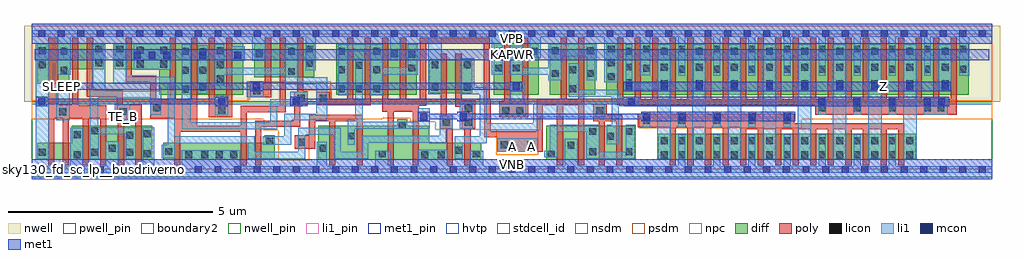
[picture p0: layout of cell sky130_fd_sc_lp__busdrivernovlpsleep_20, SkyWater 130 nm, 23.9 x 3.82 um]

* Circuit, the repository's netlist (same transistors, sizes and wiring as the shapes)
* Copyright 2020 The SkyWater PDK Authors
*
* Licensed under the Apache License, Version 2.0 (the "License");
* you may not use this file except in compliance with the License.
* You may obtain a copy of the License at
*
*     https://www.apache.org/licenses/LICENSE-2.0
*
* Unless required by applicable law or agreed to in writing, software
* distributed under the License is distributed on an "AS IS" BASIS,
* WITHOUT WARRANTIES OR CONDITIONS OF ANY KIND, either express or implied.
* See the License for the specific language governing permissions and
* limitations under the License.
*
* SPDX-License-Identifier: Apache-2.0

.SUBCKT sky130_fd_sc_lp__busdrivernovlpsleep_20 A SLEEP TE_B KAPWR VGND VNB VPB VPWR Z
*.PININFO A:I SLEEP:I TE_B:I KAPWR:I VGND:I VNB:I VPB:I VPWR:I Z:O
MI33 TE TE_B VGND VNB sky130_fd_pr__nfet_01v8 m=2 w=0.84U l=0.15U mult=1 sa=0.265
+ sb=0.265 sd=0.28 area=0.063 perim=1.14
MI31 TE SLEEP VGND VNB sky130_fd_pr__nfet_01v8 m=2 w=0.84U l=0.15U mult=1 sa=0.265
+ sb=0.265 sd=0.28 area=0.063 perim=1.14
MI28 SLEEPB SLEEP net108 VNB sky130_fd_pr__nfet_01v8 m=1 w=0.42U l=0.15U mult=1
+ sa=0.265 sb=0.265 sd=0.28 area=0.063 perim=1.14
MMN1 Z net145 VGND VNB sky130_fd_pr__nfet_01v8 m=14 w=0.64U l=0.15U mult=1 sa=0.265
+ sb=0.265 sd=0.28 area=0.063 perim=1.14
MI26 net145 TEB_INT VGND VNB sky130_fd_pr__nfet_01v8 m=2 w=0.84U l=0.15U mult=1
+ sa=0.265 sb=0.265 sd=0.28 area=0.063 perim=1.14
MI25 net145 A VGND VNB sky130_fd_pr__nfet_01v8 m=2 w=0.84U l=0.15U mult=1 sa=0.265
+ sb=0.265 sd=0.28 area=0.063 perim=1.14
MI24 net93 A VGND VNB sky130_fd_pr__nfet_01v8 m=2 w=0.84U l=0.15U mult=1 sa=0.265
+ sb=0.265 sd=0.28 area=0.063 perim=1.14
MI23 net89 net90 net93 VNB sky130_fd_pr__nfet_01v8 m=2 w=0.84U l=0.15U mult=1 sa=0.265
+ sb=0.265 sd=0.28 area=0.063 perim=1.14
MI22 net90 TEB_INT VGND VNB sky130_fd_pr__nfet_01v8 m=1 w=0.42U l=0.15U mult=1
+ sa=0.265 sb=0.265 sd=0.28 area=0.063 perim=1.14
MI21 net90 net145 VGND VNB sky130_fd_pr__nfet_01v8 m=1 w=0.42U l=0.15U mult=1 sa=0.265
+ sb=0.265 sd=0.28 area=0.063 perim=1.14
MI13 net146 net89 net73 VNB sky130_fd_pr__nfet_01v8 m=1 w=0.42U l=0.15U mult=1
+ sa=0.265 sb=0.265 sd=0.28 area=0.063 perim=1.14
MI14 net73 TE VGND VNB sky130_fd_pr__nfet_01v8 m=1 w=0.42U l=0.15U mult=1 sa=0.265
+ sb=0.265 sd=0.28 area=0.063 perim=1.14
MI37 TEB_INT TE VGND VNB sky130_fd_pr__nfet_01v8 m=1 w=0.42U l=0.15U mult=1 sa=0.265
+ sb=0.265 sd=0.28 area=0.063 perim=1.14
MI29 net108 SLEEP VGND VNB sky130_fd_pr__nfet_01v8 m=1 w=0.42U l=0.15U mult=1 sa=0.265
+ sb=0.265 sd=0.28 area=0.063 perim=1.14
MI36 TEB_INT TE KAPWR VPB sky130_fd_pr__pfet_01v8_hvt m=1 w=0.64U l=0.15U mult=1
+ sa=0.265 sb=0.265 sd=0.28 area=0.063 perim=1.14
MI32 TE TE_B net116 VPB sky130_fd_pr__pfet_01v8_hvt m=1 w=0.64U l=0.15U mult=1
+ sa=0.265 sb=0.265 sd=0.28 area=0.063 perim=1.14
MI30 net116 SLEEP VPWR VPB sky130_fd_pr__pfet_01v8_hvt m=1 w=0.64U l=0.15U mult=1
+ sa=0.265 sb=0.265 sd=0.28 area=0.063 perim=1.14
MMP0 Z net89 VPWR VPB sky130_fd_pr__pfet_01v8_hvt m=20 w=1.26U l=0.15U mult=1 sa=0.265
+ sb=0.265 sd=0.28 area=0.063 perim=1.14
MI27 SLEEPB SLEEP VPWR VPB sky130_fd_pr__pfet_01v8_hvt m=1 w=1.0U l=0.25U mult=1
+ sa=0.265 sb=0.265 sd=0.28 area=0.063 perim=1.14
MI11 net146 net89 VPWR VPB sky130_fd_pr__pfet_01v8_hvt m=1 w=0.84U l=0.15U mult=1
+ sa=0.265 sb=0.265 sd=0.28 area=0.063 perim=1.14
MI20 net90 net145 net153 VPB sky130_fd_pr__pfet_01v8_hvt m=1 w=0.84U l=0.15U mult=1
+ sa=0.265 sb=0.265 sd=0.28 area=0.063 perim=1.14
MI39 net148 SLEEP VPWR VPB sky130_fd_pr__pfet_01v8_hvt m=2 w=1.26U l=0.15U mult=1
+ sa=0.265 sb=0.265 sd=0.28 area=0.063 perim=1.14
MI19 net153 TEB_INT VPWR VPB sky130_fd_pr__pfet_01v8_hvt m=1 w=0.84U l=0.15U mult=1
+ sa=0.265 sb=0.265 sd=0.28 area=0.063 perim=1.14
MI10 net89 A net148 VPB sky130_fd_pr__pfet_01v8_hvt m=2 w=1.26U l=0.15U mult=1
+ sa=0.265 sb=0.265 sd=0.28 area=0.063 perim=1.14
MI18 net145 net146 net144 VPB sky130_fd_pr__pfet_01v8_hvt m=2 w=1.26U l=0.15U mult=1
+ sa=0.265 sb=0.265 sd=0.28 area=0.063 perim=1.14
MI17 net144 A VPWR VPB sky130_fd_pr__pfet_01v8_hvt m=2 w=1.26U l=0.15U mult=1 sa=0.265
+ sb=0.265 sd=0.28 area=0.063 perim=1.14
MI12 net146 TE net136 VPB sky130_fd_pr__pfet_01v8_hvt m=1 w=0.84U l=0.15U mult=1
+ sa=0.265 sb=0.265 sd=0.28 area=0.063 perim=1.14
MI9 net89 TE KAPWR VPB sky130_fd_pr__pfet_01v8_hvt m=2 w=1.26U l=0.15U mult=1 sa=0.265
+ sb=0.265 sd=0.28 area=0.063 perim=1.14
MI38 net146 SLEEPB KAPWR VPB sky130_fd_pr__pfet_01v8_hvt m=2 w=1.26U l=0.15U mult=1
+ sa=0.265 sb=0.265 sd=0.28 area=0.063 perim=1.14
MI40 net136 SLEEP VPWR VPB sky130_fd_pr__pfet_01v8_hvt m=1 w=0.84U l=0.15U mult=1
+ sa=0.265 sb=0.265 sd=0.28 area=0.063 perim=1.14
.ENDS sky130_fd_sc_lp__busdrivernovlpsleep_20

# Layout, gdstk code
import gdstk
lib = gdstk.Library(unit=1e-6, precision=1e-09)
def R(c, l, rs):  # rectangles x0, y0, x1, y1
    for r in rs: c.add(gdstk.rectangle(r[:2], r[2:], *l))
def A(c, l, x, y, w, h, nx, ny, dx, dy):  # array of equal rectangles
    R(c, l, [(x+i*dx, y+j*dy, x+i*dx+w, y+j*dy+h) for i in range(nx) for j in range(ny)])
def P(c, l, *ps):  # polygons
    for p in ps: c.add(gdstk.Polygon(p, *l))
nwell_pin = (64, 16)
nwell = (64, 20)
diff = (65, 20)
poly = (66, 20)
licon = (66, 44)
li1_pin = (67, 16)
li1 = (67, 20)
mcon = (67, 44)
met1_pin = (68, 16)
met1 = (68, 20)
hvtp = (78, 44)
stdcell_id = (81, 4)
nsdm = (93, 44)
psdm = (94, 20)
npc = (95, 20)
pwell_pin = (122, 16)
boundary2 = (236, 0)

sky130_fd_sc_lp__busdriv = lib.new_cell('sky130_fd_sc_lp__busdrivernovlpsleep_20')
R(sky130_fd_sc_lp__busdriv, nwell_pin, [(0,3.085,23.52,3.33)])
R(sky130_fd_sc_lp__busdriv, nwell, [(-0.19,1.655,23.71,3.52)])
R(sky130_fd_sc_lp__busdriv, diff, [(12.595,0.235,14.77,1.075), (15.34,0.235,21.65,0.875), (7.46,1.835,9.43,3.095), (11.31,1.835,12.42,3.095), (12.69,1.835,13.8,3.095), (14.07,1.835,22.94,3.095), (9.73,1.865,10.79,2.705), (5.445,2.255,6.915,3.095)])
P(sky130_fd_sc_lp__busdriv, diff, [(11.01,0.655),(9.73,0.655),(9.73,1.075),(9.2,1.075),(9.2,1.225),(8.945,1.225),(8.945,1.075),(7.015,1.075),(7.015,0.235),(11.01,0.235)],
  [(5.95,0.84),(5.7,0.84),(5.7,0.655),(3.225,0.655),(3.225,0.235),(5.95,0.235)],
  [(5.175,3.095),(2.035,3.095),(2.035,2.455),(3.125,2.455),(3.125,1.835),(5.175,1.835)],
  [(2.955,1.075),(0.985,1.075),(0.985,0.655),(0.135,0.655),(0.135,0.235),(2.955,0.235)],
  [(1.765,3.095),(0.135,3.095),(0.135,2.095),(0.915,2.095),(0.915,2.455),(1.765,2.455)])
P(sky130_fd_sc_lp__busdriv, poly, [(22.655,3.225),(22.505,3.225),(22.505,1.725),(22.225,1.725),(22.225,3.225),(22.075,3.225),(22.075,1.725),(21.795,1.725),(21.795,3.225),(21.645,3.225),(21.645,1.725),(21.365,1.725),(21.365,3.225),(21.215,3.225),(21.215,1.725),(20.935,1.725),(20.935,3.225),(20.785,3.225),(20.785,1.725),(20.505,1.725),(20.505,3.225),(20.355,3.225),(20.355,1.725),(20.075,1.725),(20.075,3.225),(19.925,3.225),(19.925,1.725),(19.645,1.725),(19.645,3.225),(19.495,3.225),(19.495,1.725),(19.215,1.725),(19.215,3.225),(19.065,3.225),(19.065,1.725),(18.785,1.725),(18.785,3.225),(18.635,3.225),(18.635,1.725),(18.355,1.725),(18.355,3.225),(18.205,3.225),(18.205,1.725),(17.925,1.725),(17.925,3.225),(17.775,3.225),(17.775,1.725),(17.495,1.725),(17.495,3.225),(17.345,3.225),(17.345,1.725),(17.065,1.725),(17.065,3.225),(16.915,3.225),(16.915,1.725),(16.635,1.725),(16.635,3.225),(16.485,3.225),(16.485,1.725),(16.205,1.725),(16.205,3.225),(16.055,3.225),(16.055,1.725),(15.775,1.725),(15.775,3.225),(15.625,3.225),(15.625,1.725),(15.345,1.725),(15.345,3.225),(15.195,3.225),(15.195,1.725),(14.915,1.725),(14.915,3.225),(14.765,3.225),(14.765,1.725),(14.485,1.725),(14.485,3.225),(14.335,3.225),(14.335,1.575),(19.18,1.575),(19.18,1.345),(22.655,1.345)],
  [(21.365,1.135),(18.67,1.135),(18.67,1.365),(14.845,1.365),(14.845,1.035),(15.625,1.035),(15.625,0.105),(15.775,0.105),(15.775,1.035),(16.055,1.035),(16.055,0.105),(16.205,0.105),(16.205,1.035),(16.485,1.035),(16.485,0.105),(16.635,0.105),(16.635,1.035),(16.915,1.035),(16.915,0.105),(17.065,0.105),(17.065,1.035),(17.345,1.035),(17.345,0.105),(17.495,0.105),(17.495,0.985),(17.775,0.985),(17.775,0.105),(17.925,0.105),(17.925,0.985),(18.205,0.985),(18.205,0.105),(18.355,0.105),(18.355,0.985),(18.635,0.985),(18.635,0.105),(18.785,0.105),(18.785,0.985),(19.065,0.985),(19.065,0.105),(19.215,0.105),(19.215,0.985),(19.495,0.985),(19.495,0.105),(19.645,0.105),(19.645,0.985),(19.925,0.985),(19.925,0.105),(20.075,0.105),(20.075,0.985),(20.355,0.985),(20.355,0.105),(20.505,0.105),(20.505,0.985),(20.785,0.985),(20.785,0.105),(20.935,0.105),(20.935,0.985),(21.215,0.985),(21.215,0.105),(21.365,0.105)],
  [(14.46,1.335),(14.075,1.335),(14.075,1.605),(13.745,1.605),(13.745,1.185),(13.88,1.185),(13.88,0.105),(14.03,0.105),(14.03,1.185),(14.31,1.185),(14.31,0.105),(14.46,0.105)],
  [(13.535,3.225),(13.385,3.225),(13.385,1.725),(13.105,1.725),(13.105,3.225),(12.955,3.225),(12.955,1.725),(12.365,1.725),(12.365,0.935),(11.235,0.935),(11.235,1.725),(11.215,1.725),(11.215,3.225),(9.505,3.225),(9.505,1.715),(9.165,1.715),(9.165,3.225),(9.015,3.225),(9.015,1.715),(8.735,1.715),(8.735,3.225),(8.585,3.225),(8.585,1.41),(8.72,1.41),(8.72,0.105),(8.87,0.105),(8.87,1.41),(9.33,1.41),(9.33,0.105),(9.48,0.105),(9.48,1.565),(9.655,1.565),(9.655,3.075),(11.065,3.075),(11.065,1.575),(11.085,1.575),(11.085,0.785),(11.4,0.785),(11.4,0.44),(12.515,0.44),(12.515,1.575),(12.86,1.575),(12.86,0.105),(13.01,0.105),(13.01,1.575),(13.385,1.575),(13.385,0.105),(13.535,0.105)],
  [(12.155,3.225),(12.005,3.225),(12.005,1.67),(11.725,1.67),(11.725,3.225),(11.575,3.225),(11.575,1.67),(11.445,1.67),(11.445,1.28),(12.155,1.28)],
  [(10.855,1.69),(10.525,1.69),(10.525,2.835),(10.375,2.835),(10.375,1.54),(10.525,1.54),(10.525,0.995),(10.595,0.995),(10.595,0.105),(10.745,0.105),(10.745,0.995),(10.855,0.995)],
  [(10.315,1.33),(10.165,1.33),(10.165,2.835),(10.015,2.835),(10.015,1.325),(9.985,1.325),(9.985,0.995),(10.165,0.995),(10.165,0.105),(10.315,0.105)],
  [(8.305,3.225),(8.155,3.225),(8.155,1.725),(7.875,1.725),(7.875,3.225),(7.725,3.225),(7.725,1.725),(7.3,1.725),(7.3,1.905),(6.97,1.905),(6.97,1.575),(8.305,1.575)],
  [(8.11,1.335),(6.79,1.335),(6.79,0.835),(6.445,0.835),(6.445,0.505),(6.94,0.505),(6.94,1.185),(7.28,1.185),(7.28,0.105),(7.43,0.105),(7.43,1.185),(7.96,1.185),(7.96,0.105),(8.11,0.105)],
  [(6.76,1.91),(6.65,1.91),(6.65,3.225),(6.5,3.225),(6.5,1.905),(6.43,1.905),(6.43,1.195),(5.475,1.195),(5.475,0.105),(5.625,0.105),(5.625,1.045),(6.58,1.045),(6.58,1.575),(6.76,1.575)],
  [(6.22,3.225),(6.07,3.225),(6.07,1.555),(5.115,1.555),(5.115,1.07),(4.05,1.07),(4.05,3.225),(3.9,3.225),(3.9,1.715),(3.525,1.715),(3.525,3.225),(3.375,3.225),(3.375,1.715),(3.05,1.715),(3.05,2.295),(2.45,2.295),(2.45,3.225),(2.3,3.225),(2.3,2.145),(2.9,2.145),(2.9,1.25),(3.49,1.25),(3.49,0.105),(3.64,0.105),(3.64,0.92),(5.115,0.92),(5.115,0.105),(5.265,0.105),(5.265,1.405),(6.22,1.405)],
  [(5.86,3.225),(5.71,3.225),(5.71,2.095),(5.345,2.095),(5.345,1.765),(5.86,1.765)],
  [(4.91,3.225),(4.76,3.225),(4.76,1.705),(4.48,1.705),(4.48,3.225),(4.33,3.225),(4.33,1.28),(4.905,1.28),(4.905,1.655),(4.91,1.655)],
  [(2.69,1.585),(2.23,1.585),(2.23,1.935),(1.5,1.935),(1.5,3.225),(1.35,3.225),(1.35,1.785),(2.08,1.785),(2.08,1.205),(2.11,1.205),(2.11,0.105),(2.26,0.105),(2.26,1.205),(2.54,1.205),(2.54,0.105),(2.69,0.105)],
  [(1.83,1.575),(1.14,1.575),(1.14,3.225),(0.99,3.225),(0.99,1.58),(0.65,1.58),(0.65,3.225),(0.4,3.225),(0.4,0.105),(0.55,0.105),(0.55,1.25),(0.76,1.25),(0.76,0.105),(0.91,0.105),(0.91,1.25),(1.25,1.25),(1.25,0.105),(1.4,0.105),(1.4,1.25),(1.68,1.25),(1.68,0.105),(1.83,0.105)])
A(sky130_fd_sc_lp__busdriv, licon, 15.4, 0.275, 0.17, 0.17, 15, 2, 0.43, 0.34)
A(sky130_fd_sc_lp__busdriv, licon, 19.26, 1.425, 0.17, 0.17, 4, 1, 0.86, 0)
A(sky130_fd_sc_lp__busdriv, licon, 7.5, 1.895, 0.17, 0.17, 3, 1, 0.43, 0)
A(sky130_fd_sc_lp__busdriv, licon, 15.4, 2.02, 0.17, 0.17, 9, 2, 0.86, 0.395)
A(sky130_fd_sc_lp__busdriv, licon, 4.535, 2.14, 0.17, 0.17, 1, 3, 0, 0.34)
A(sky130_fd_sc_lp__busdriv, licon, 15.83, 2.37, 0.17, 0.17, 9, 1, 0.86, 0)
A(sky130_fd_sc_lp__busdriv, licon, 11.35, 2.815, 0.17, 0.17, 3, 1, 0.43, 0)
A(sky130_fd_sc_lp__busdriv, licon, 14.54, 2.815, 0.17, 0.17, 10, 1, 0.86, 0)
A(sky130_fd_sc_lp__busdriv, licon, 14.11, 2.865, 0.17, 0.17, 11, 1, 0.86, 0)
R(sky130_fd_sc_lp__busdriv, licon, [(1.025,0.275,1.195,0.445), (3.755,0.275,3.925,0.445), (4.155,0.275,4.325,0.445), (4.51,0.275,4.68,0.445), (4.86,0.275,5.03,0.445), (9.535,0.275,9.705,0.445), (9.94,0.275,10.11,0.445), (8.495,0.295,8.665,0.465), (10.8,0.295,10.97,0.465), (12.635,0.295,12.805,0.465), (2.745,0.3,2.915,0.47), (0.175,0.335,0.345,0.505), (1.455,0.335,1.625,0.505), (2.315,0.335,2.485,0.505), (13.655,0.345,13.825,0.515), (14.54,0.345,14.71,0.515), (3.265,0.355,3.435,0.525), (10.37,0.385,10.54,0.555), (7.055,0.43,7.225,0.6), (1.885,0.44,2.055,0.61), (13.12,0.505,13.29,0.675), (11.48,0.52,11.65,0.69), (12.135,0.52,12.305,0.69), (6.525,0.585,6.695,0.755), (5.74,0.605,5.91,0.775), (14.085,0.73,14.255,0.9), (7.735,0.735,7.905,0.905), (2.315,0.75,2.485,0.92), (1.025,0.77,1.195,0.94), (2.745,0.79,2.915,0.96), (13.655,0.845,13.825,1.015), (14.54,0.845,14.71,1.015), (1.455,0.865,1.625,1.035), (8.99,0.995,9.16,1.165), (10.065,1.075,10.235,1.245), (10.605,1.075,10.775,1.245), (14.98,1.115,15.15,1.285), (15.84,1.115,16.01,1.285), (16.68,1.115,16.85,1.285), (17.56,1.115,17.73,1.285), (18.42,1.115,18.59,1.285), (0.675,1.33,0.845,1.5), (2.16,1.335,2.33,1.505), (13.825,1.355,13.995,1.525), (4.565,1.36,4.735,1.53), (11.525,1.36,11.695,1.53), (11.865,1.36,12.035,1.53), (10.605,1.415,10.775,1.585), (2.98,1.425,3.15,1.595), (22.18,1.425,22.35,1.595), (6.51,1.655,6.68,1.825), (7.05,1.655,7.22,1.825), (5.425,1.845,5.595,2.015), (3.675,1.875,3.845,2.045), (13.16,1.895,13.33,2.065), (9.79,1.925,9.96,2.095), (10.58,1.925,10.75,2.095), (4.105,1.93,4.275,2.1), (14.54,2.04,14.71,2.21), (14.11,2.185,14.28,2.355), (12.73,2.265,12.9,2.435), (13.59,2.265,13.76,2.435), (6.275,2.315,6.445,2.485), (3.675,2.34,3.845,2.51), (4.105,2.34,4.275,2.51), (0.705,2.345,0.875,2.515), (7.5,2.355,7.67,2.525), (8.36,2.355,8.53,2.525), (13.16,2.355,13.33,2.525), (14.97,2.39,15.14,2.56), (9.22,2.4,9.39,2.57), (11.35,2.4,11.52,2.57), (11.78,2.4,11.95,2.57), (14.54,2.425,14.71,2.595), (7.93,2.465,8.1,2.635), (9.79,2.475,9.96,2.645), (10.58,2.475,10.75,2.645), (0.175,2.485,0.345,2.655), (2.575,2.495,2.745,2.665), (3.15,2.495,3.32,2.665), (6.705,2.515,6.875,2.685), (1.555,2.525,1.725,2.695), (2.075,2.525,2.245,2.695), (14.11,2.525,14.28,2.695), (4.965,2.71,5.135,2.88), (9.22,2.74,9.39,2.91), (5.485,2.745,5.655,2.915), (8.79,2.75,8.96,2.92), (4.105,2.795,4.275,2.965), (0.705,2.815,0.875,2.985), (3.675,2.815,3.845,2.985), (6.275,2.815,6.445,2.985), (7.5,2.815,7.67,2.985), (8.36,2.815,8.53,2.985), (0.175,2.825,0.345,2.995), (12.73,2.825,12.9,2.995), (13.59,2.825,13.76,2.995), (2.575,2.835,2.745,3.005), (3.15,2.835,3.32,3.005), (1.555,2.865,1.725,3.035), (2.075,2.865,2.245,3.035), (6.705,2.865,6.875,3.035)])
R(sky130_fd_sc_lp__busdriv, li1_pin, [(11.675,0.47,11.845,0.64), (12.155,0.47,12.325,0.64), (2.15,1.21,2.32,1.38)])
A(sky130_fd_sc_lp__busdriv, li1, 16.18, 0.255, 0.33, 2.81, 5, 1, 0.86, 0)
A(sky130_fd_sc_lp__busdriv, li1, 14.96, 1.035, 0.19, 0.375, 5, 1, 0.86, 0)
A(sky130_fd_sc_lp__busdriv, li1, 19.26, 1.345, 0.19, 0.415, 3, 1, 0.86, 0)
R(sky130_fd_sc_lp__busdriv, li1, [(0.095,0.255,0.425,3.075), (21.34,0.255,21.67,3.065), (20.48,0.26,20.81,3.065), (11.4,0.44,12.385,0.77), (10.485,0.995,10.8,1.665), (0.595,1.2,0.925,2.15), (2.035,1.2,2.415,1.59), (4.485,1.325,4.815,1.815), (21.84,1.345,22.43,1.76), (5.27,1.765,5.675,2.155), (4.065,1.85,4.315,3.045), (22.2,1.94,22.53,3.065), (2.495,2.44,3.4,3.075), (4.885,2.665,5.215,3.015)])
P(sky130_fd_sc_lp__busdriv, li1, [(23.52,3.415),(0,3.415),(0,3.245),(0.625,3.245),(0.625,2.32),(0.955,2.32),(0.955,3.245),(5.405,3.245),(5.405,2.665),(5.735,2.665),(5.735,3.245),(6.705,3.245),(6.705,2.435),(6.955,2.435),(6.955,3.245),(8.78,3.245),(8.78,2.67),(9.04,2.67),(9.04,3.245),(9.71,3.245),(9.71,1.845),(10.04,1.845),(10.04,3.245),(11.27,3.245),(11.27,2.32),(11.53,2.32),(11.53,3.245),(12.2,3.245),(12.2,2.735),(12.46,2.735),(12.46,3.245),(14.025,3.245),(14.025,2.135),(14.36,2.135),(14.36,3.245),(14.89,3.245),(14.89,2.31),(15.14,2.31),(15.14,3.245),(15.83,3.245),(15.83,2.29),(16,2.29),(16,3.245),(16.69,3.245),(16.69,2.29),(16.86,2.29),(16.86,3.245),(17.55,3.245),(17.55,2.29),(17.72,2.29),(17.72,3.245),(18.41,3.245),(18.41,2.29),(18.58,2.29),(18.58,3.245),(19.27,3.245),(19.27,2.29),(19.44,2.29),(19.44,3.245),(20.13,3.245),(20.13,2.29),(20.3,2.29),(20.3,3.245),(20.99,3.245),(20.99,2.29),(21.16,2.29),(21.16,3.245),(21.85,3.245),(21.85,2.29),(22.02,2.29),(22.02,3.245),(22.71,3.245),(22.71,2.29),(22.96,2.29),(22.96,3.245),(23.52,3.245)],
  [(23.52,0.085),(21.16,0.085),(21.16,0.865),(20.99,0.865),(20.99,0.085),(20.3,0.085),(20.3,0.865),(20.13,0.865),(20.13,0.085),(19.44,0.085),(19.44,0.865),(19.27,0.865),(19.27,0.085),(18.58,0.085),(18.58,0.865),(18.41,0.865),(18.41,0.085),(17.72,0.085),(17.72,0.865),(17.55,0.865),(17.55,0.085),(16.86,0.085),(16.86,0.865),(16.69,0.865),(16.69,0.085),(16,0.085),(16,0.865),(15.83,0.865),(15.83,0.085),(13.365,0.085),(13.365,0.755),(13.055,0.755),(13.055,0.085),(11.05,0.085),(11.05,0.465),(10.72,0.465),(10.72,0.085),(10.19,0.085),(10.19,0.485),(9.455,0.485),(9.455,0.085),(8.785,0.085),(8.785,0.465),(8.415,0.465),(8.415,0.085),(7.225,0.085),(7.225,0.68),(6.975,0.68),(6.975,0.085),(5.11,0.085),(5.11,0.475),(3.675,0.475),(3.675,0.085),(2.995,0.085),(2.995,1.04),(2.72,1.04),(2.72,0.085),(2.135,0.085),(2.135,0.69),(1.805,0.69),(1.805,0.085),(1.25,0.085),(1.25,1.02),(0.945,1.02),(0.945,0.085),(0,0.085),(0,-0.085),(23.52,-0.085)],
  [(15.65,3.065),(15.32,3.065),(15.32,2.13),(14.71,2.13),(14.71,3.065),(14.54,3.065),(14.54,1.95),(15.32,1.95),(15.32,0.255),(15.65,0.255)],
  [(14.86,1.78),(14.37,1.78),(14.37,1.955),(13.41,1.955),(13.41,2.605),(13.15,2.605),(13.15,1.785),(14.2,1.785),(14.2,1.095),(14.075,1.095),(14.075,0.615),(14.37,0.615),(14.37,1.55),(14.86,1.55)],
  [(14.79,1.095),(14.54,1.095),(14.54,0.435),(13.905,0.435),(13.905,1.095),(12.68,1.095),(12.68,0.465),(12.555,0.465),(12.555,0.295),(12.885,0.295),(12.885,0.925),(13.575,0.925),(13.575,0.265),(14.79,0.265)],
  [(14.03,1.605),(12.285,1.605),(12.285,1.13),(11.14,1.13),(11.14,2.015),(10.83,2.015),(10.83,2.725),(10.5,2.725),(10.5,1.845),(10.97,1.845),(10.97,0.815),(10.36,0.815),(10.36,0.265),(10.55,0.265),(10.55,0.645),(11.14,0.645),(11.14,0.955),(12.455,0.955),(12.455,1.275),(14.03,1.275)],
  [(13.84,3.075),(12.65,3.075),(12.65,2.49),(12.03,2.49),(12.03,3.035),(11.7,3.035),(11.7,2.32),(12.65,2.32),(12.65,2.185),(12.98,2.185),(12.98,2.775),(13.59,2.775),(13.59,2.185),(13.84,2.185)],
  [(12.115,1.615),(12.055,1.615),(12.055,2.15),(11.71,2.15),(11.71,1.615),(11.445,1.615),(11.445,1.325),(12.115,1.325)],
  [(10.315,1.325),(9.985,1.325),(9.985,0.825),(8.075,0.825),(8.075,0.435),(7.565,0.435),(7.565,1.02),(6.525,1.02),(6.525,0.435),(5.455,0.435),(5.455,0.815),(3.505,0.815),(3.505,2.27),(2.325,2.27),(2.325,3.075),(1.995,3.075),(1.995,2.1),(3.335,2.1),(3.335,0.605),(3.185,0.605),(3.185,0.275),(3.505,0.275),(3.505,0.645),(5.285,0.645),(5.285,0.265),(6.695,0.265),(6.695,0.85),(7.395,0.85),(7.395,0.265),(8.245,0.265),(8.245,0.655),(10.155,0.655),(10.155,0.995),(10.315,0.995)],
  [(9.745,1.505),(9.455,1.505),(9.455,1.165),(8.11,1.165),(8.11,2.715),(7.92,2.715),(7.92,1.225),(7.735,1.225),(7.735,0.605),(7.905,0.605),(7.905,0.995),(9.745,0.995)],
  [(9.47,3.065),(9.21,3.065),(9.21,2.5),(8.61,2.5),(8.61,3.065),(7.5,3.065),(7.5,1.815),(7.75,1.815),(7.75,2.895),(8.28,2.895),(8.28,1.815),(8.61,1.815),(8.61,2.32),(9.47,2.32)],
  [(7.23,2.255),(6.525,2.255),(6.525,3.065),(6.195,3.065),(6.195,2.495),(4.715,2.495),(4.715,3.07),(4.485,3.07),(4.485,2.06),(4.715,2.06),(4.715,2.325),(6.195,2.325),(6.195,2.085),(6.97,2.085),(6.97,1.37),(6.185,1.37),(6.185,0.815),(5.66,0.815),(5.66,0.605),(6.355,0.605),(6.355,1.2),(7.23,1.2)],
  [(6.76,1.905),(6.335,1.905),(6.335,1.72),(5.845,1.72),(5.845,1.155),(3.895,1.155),(3.895,3.065),(3.675,3.065),(3.675,0.985),(6.015,0.985),(6.015,1.55),(6.76,1.55)],
  [(3.165,1.93),(1.805,1.93),(1.805,3.065),(1.475,3.065),(1.475,1.93),(1.42,1.93),(1.42,0.255),(1.635,0.255),(1.635,0.86),(2.305,0.86),(2.305,0.255),(2.55,0.255),(2.55,1.03),(1.625,1.03),(1.625,1.76),(2.9,1.76),(2.9,1.345),(3.165,1.345)])
A(sky130_fd_sc_lp__busdriv, mcon, 0.155, -0.085, 0.17, 0.17, 9, 1, 0.48, 0)
A(sky130_fd_sc_lp__busdriv, mcon, 4.475, -0.085, 0.17, 0.17, 40, 1, 0.48, 0)
A(sky130_fd_sc_lp__busdriv, mcon, 14.98, 1.21, 0.17, 0.17, 5, 1, 0.86, 0)
A(sky130_fd_sc_lp__busdriv, mcon, 19.26, 1.58, 0.17, 0.17, 4, 1, 0.86, 0)
A(sky130_fd_sc_lp__busdriv, mcon, 14.54, 1.95, 0.17, 0.17, 10, 1, 0.86, 0)
A(sky130_fd_sc_lp__busdriv, mcon, 2.5, 2.715, 0.17, 0.17, 3, 1, 0.36, 0)
A(sky130_fd_sc_lp__busdriv, mcon, 0.155, 3.245, 0.17, 0.17, 49, 1, 0.48, 0)
R(sky130_fd_sc_lp__busdriv, mcon, [(3.995,-0.085,4.165,0.085), (4.475,-0.085,4.645,0.085), (9.515,1.21,9.685,1.38), (10.485,1.21,10.655,1.38), (0.155,1.58,0.325,1.75), (4.565,1.58,4.735,1.75), (6.395,1.58,6.565,1.75), (14.595,1.58,14.765,1.75), (22.2,1.58,22.37,1.75), (0.685,1.95,0.855,2.12), (5.415,1.95,5.585,2.12), (11.78,1.95,11.95,2.12), (4.105,2.715,4.275,2.885), (4.955,2.715,5.125,2.885)])
R(sky130_fd_sc_lp__busdriv, met1_pin, [(0,0,23.52,0.245), (14.48,1.92,22.51,2.15), (0.635,1.95,0.805,2.12), (0.07,2.675,23.45,2.945), (0,3.085,23.52,3.33)])
R(sky130_fd_sc_lp__busdriv, met1, [(0,-0.245,23.52,0.245), (14.48,1.92,22.51,2.15), (0.07,2.675,23.45,2.945), (0,3.085,23.52,3.575)])
P(sky130_fd_sc_lp__busdriv, met1, [(22.465,1.78),(14.5,1.78),(14.5,1.735),(6.625,1.735),(6.625,1.78),(6.335,1.78),(6.335,1.55),(6.625,1.55),(6.625,1.595),(14.505,1.595),(14.505,1.55),(22.465,1.55)],
  [(18.695,1.41),(14.92,1.41),(14.92,1.365),(10.715,1.365),(10.715,1.41),(10.425,1.41),(10.425,1.365),(9.745,1.365),(9.745,1.41),(9.455,1.41),(9.455,1.18),(9.745,1.18),(9.745,1.225),(10.425,1.225),(10.425,1.18),(10.715,1.18),(10.715,1.225),(14.92,1.225),(14.92,1.18),(18.695,1.18)],
  [(12.01,2.15),(11.72,2.15),(11.72,2.12),(5.645,2.12),(5.645,2.15),(5.355,2.15),(5.355,2.12),(0.915,2.12),(0.915,2.15),(0.625,2.15),(0.625,1.92),(0.915,1.92),(0.915,1.95),(5.355,1.95),(5.355,1.92),(5.645,1.92),(5.645,1.95),(11.72,1.95),(11.72,1.92),(12.01,1.92)],
  [(4.795,1.78),(4.505,1.78),(4.505,1.735),(0.385,1.735),(0.385,1.78),(0.095,1.78),(0.095,1.55),(0.385,1.55),(0.385,1.595),(4.505,1.595),(4.505,1.55),(4.795,1.55)])
R(sky130_fd_sc_lp__busdriv, hvtp, [(0,1.6,23.52,3.33)])
R(sky130_fd_sc_lp__busdriv, stdcell_id, [(0,0,23.52,3.33)])
R(sky130_fd_sc_lp__busdriv, nsdm, [(0,-0.19,23.52,1.655)])
P(sky130_fd_sc_lp__busdriv, psdm, [(23.52,3.52),(0,3.52),(0,1.655),(2.865,1.655),(2.865,1.705),(3.27,1.705),(3.27,1.655),(5.305,1.655),(5.305,2.125),(6.525,2.125),(6.525,1.935),(7.33,1.935),(7.33,1.655),(9.26,1.655),(9.26,1.705),(9.65,1.705),(9.65,1.695),(11.19,1.695),(11.19,1.655),(17.445,1.655),(17.445,1.705),(22.45,1.705),(22.45,1.655),(23.52,1.655)])
P(sky130_fd_sc_lp__busdriv, npc, [(23.52,1.695),(11.5,1.695),(11.5,1.725),(10.025,1.725),(10.025,1.695),(7.32,1.695),(7.32,2.165),(5.325,2.165),(5.325,1.695),(0,1.695),(0,1.23),(5.675,1.23),(5.675,0.955),(6.04,0.955),(6.04,0.225),(6.795,0.225),(6.795,1.23),(8.585,1.23),(8.585,1.255),(9.27,1.255),(9.27,1.165),(9.88,1.165),(9.88,0.975),(11.38,0.975),(11.38,0.355),(12.405,0.355),(12.405,1.23),(14.88,1.23),(14.88,1.015),(18.85,1.015),(18.85,1.23),(23.52,1.23)])
R(sky130_fd_sc_lp__busdriv, pwell_pin, [(0,0,23.52,0.245)])
R(sky130_fd_sc_lp__busdriv, boundary2, [(0,0,23.52,3.33)])
sky130_fd_sc_lp__busdriv.add(gdstk.Label('VNB', (11.76,0.123), layer=64, texttype=59))
sky130_fd_sc_lp__busdriv.add(gdstk.Label('VPB', (11.76,3.208), layer=64, texttype=5))
sky130_fd_sc_lp__busdriv.add(gdstk.Label('sky130_fd_sc_lp__busdrivernovlp_20_sleep', (0,0), layer=83, texttype=44))
sky130_fd_sc_lp__busdriv.add(gdstk.Label('Z', (20.86,2.035), layer=68, texttype=5))
sky130_fd_sc_lp__busdriv.add(gdstk.Label('VPWR', (11.76,3.208), layer=68, texttype=5))
sky130_fd_sc_lp__busdriv.add(gdstk.Label('VGND', (11.76,0.123), layer=68, texttype=5))
sky130_fd_sc_lp__busdriv.add(gdstk.Label('KAPWR', (11.76,2.81), layer=68, texttype=5))
sky130_fd_sc_lp__busdriv.add(gdstk.Label('SLEEP', (0.72,2.035), layer=68, texttype=5))
sky130_fd_sc_lp__busdriv.add(gdstk.Label('TE_B', (2.235,1.295), layer=67, texttype=5))
sky130_fd_sc_lp__busdriv.add(gdstk.Label('A', (12.24,0.555), layer=67, texttype=5))
sky130_fd_sc_lp__busdriv.add(gdstk.Label('A', (11.76,0.555), layer=67, texttype=5))

lib.write_gds('sky130_fd_sc_lp__busdrivernovlpsleep_20.gds')
